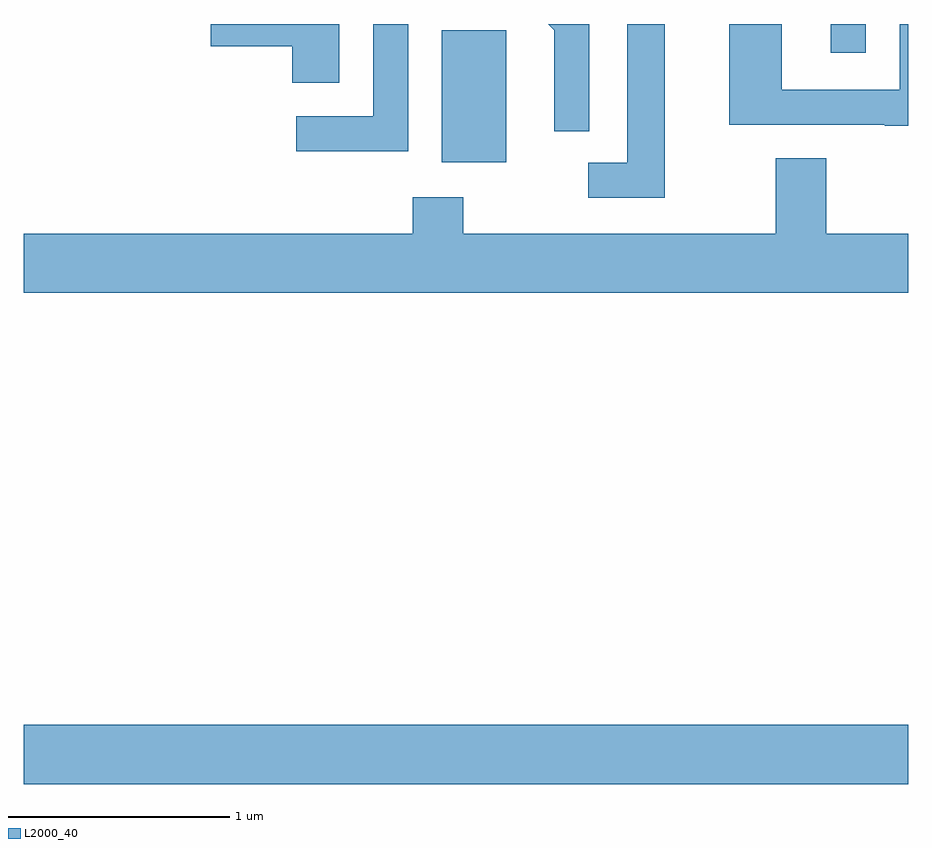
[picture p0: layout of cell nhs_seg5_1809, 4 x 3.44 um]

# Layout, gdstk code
import gdstk
lib = gdstk.Library(unit=1e-6, precision=1e-09)
def R(c, l, rs):  # rectangles x0, y0, x1, y1
    for r in rs: c.add(gdstk.rectangle(r[:2], r[2:], *l))
def P(c, l, *ps):  # polygons
    for p in ps: c.add(gdstk.Polygon(p, *l))
L2000_40 = (2000, 40)

nhs_seg5_1809 = lib.new_cell('nhs_seg5_1809')
R(nhs_seg5_1809, L2000_40, [(239.611,1394.636,243.611,1394.904), (241.501,1397.446,241.794,1398.044), (243.261,1397.943,243.419,1398.072)])
P(nhs_seg5_1809, L2000_40, [(242.509,1398.072),(242.341,1398.072),(242.341,1397.444),(242.163,1397.444),(242.163,1397.286),(242.509,1397.286)],
  [(241.349,1398.072),(241.191,1398.072),(241.191,1397.654),(240.843,1397.654),(240.843,1397.496),(241.349,1397.496)],
  [(242.169,1398.072),(241.983,1398.072),(242.011,1398.044),(242.011,1397.588),(242.169,1397.588)],
  [(243.611,1398.072),(243.571,1398.072),(243.571,1397.774),(243.039,1397.774),(243.039,1398.072),(242.801,1398.072),(242.801,1397.616),(243.505,1397.616),(243.505,1397.611),(243.611,1397.611)],
  [(241.039,1398.072),(240.456,1398.072),(240.456,1397.971),(240.826,1397.971),(240.826,1397.806),(241.039,1397.806)],
  [(243.611,1397.124),(243.239,1397.124),(243.239,1397.464),(243.011,1397.464),(243.011,1397.124),(241.599,1397.124),(241.599,1397.289),(241.371,1397.289),(241.371,1397.124),(239.611,1397.124),(239.611,1396.856),(243.611,1396.856)])

lib.write_gds('nhs_seg5_1809.gds')
